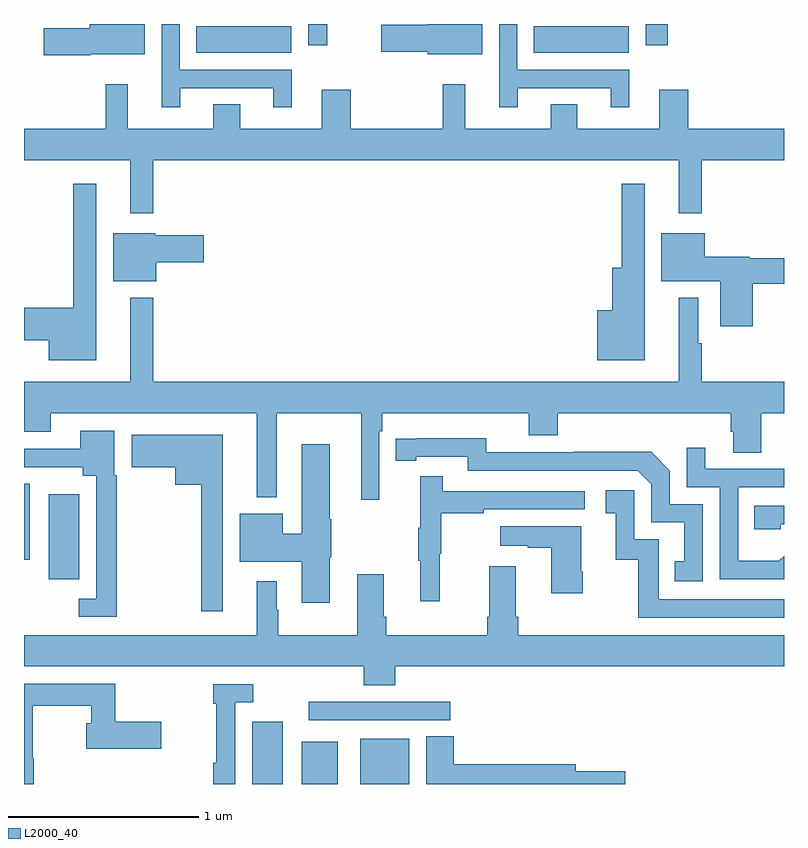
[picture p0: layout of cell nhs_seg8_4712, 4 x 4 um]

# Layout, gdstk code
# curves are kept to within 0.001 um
import gdstk
lib = gdstk.Library(unit=1e-6, precision=1e-09)
def R(c, l, rs):  # rectangles x0, y0, x1, y1
    for r in rs: c.add(gdstk.rectangle(r[:2], r[2:], *l))
def P(c, l, *ps):  # polygons
    for p in ps: c.add(gdstk.Polygon(p, *l))
L2000_40 = (2000, 40)

nhs_seg8_4712 = lib.new_cell('nhs_seg8_4712')
R(nhs_seg8_4712, L2000_40, [(398.201,1095.9,398.362,1096.228), (398.462,1095.9,398.65,1096.123), (398.771,1095.9,399.028,1096.138), (398.499,1096.236,399.244,1096.332), (397.13,1096.977,397.291,1097.425), (397,1097.081,397.03,1097.479), (397.906,1099.748,398.407,1099.888), (399.682,1099.748,400.183,1099.888), (398.496,1099.788,398.597,1099.9), (400.272,1099.788,400.388,1099.9)])
P(nhs_seg8_4712, L2000_40, [(399.411,1099.9),(399.122,1099.9),(399.122,1099.895),(398.88,1099.895),(398.88,1099.753),(399.126,1099.753),(399.126,1099.742),(399.411,1099.742)],
  [(397.35,1099.742),(397.635,1099.742),(397.635,1099.9),(397.346,1099.9),(397.346,1099.877),(397.104,1099.877),(397.104,1099.735),(397.35,1099.735)],
  [(399.598,1099.563),(400.088,1099.563),(400.088,1099.461),(400.186,1099.461),(400.186,1099.659),(399.597,1099.659),(399.597,1099.9),(399.501,1099.9),(399.501,1099.461),(399.598,1099.461)],
  [(397.822,1099.563),(398.312,1099.563),(398.312,1099.461),(398.41,1099.461),(398.41,1099.659),(397.821,1099.659),(397.821,1099.9),(397.725,1099.9),(397.725,1099.461),(397.822,1099.461)],
  [(397.681,1099.184),(400.445,1099.184),(400.445,1098.903),(400.567,1098.903),(400.567,1099.184),(401,1099.184),(401,1099.348),(400.496,1099.348),(400.496,1099.555),(400.343,1099.555),(400.343,1099.348),(399.913,1099.348),(399.913,1099.478),(399.773,1099.478),(399.773,1099.348),(399.323,1099.348),(399.323,1099.582),(399.205,1099.582),(399.205,1099.348),(398.72,1099.348),(398.72,1099.555),(398.567,1099.555),(398.567,1099.348),(398.137,1099.348),(398.137,1099.478),(397.997,1099.478),(397.997,1099.348),(397.547,1099.348),(397.547,1099.582),(397.429,1099.582),(397.429,1099.348),(397,1099.348),(397,1099.184),(397.559,1099.184),(397.559,1098.903),(397.681,1098.903)],
  [(397.381,1099.06),(397.26,1099.06),(397.26,1098.407),(397,1098.407),(397,1098.236),(397.13,1098.236),(397.13,1098.131),(397.381,1098.131)],
  [(400.267,1099.06),(400.146,1099.06),(400.146,1098.616),(400.097,1098.616),(400.097,1098.394),(400.016,1098.394),(400.016,1098.131),(400.267,1098.131)],
  [(397.696,1098.647),(397.945,1098.647),(397.945,1098.789),(397.692,1098.789),(397.692,1098.799),(397.469,1098.799),(397.469,1098.545),(397.696,1098.545)],
  [(400.835,1098.532),(401,1098.532),(401,1098.668),(400.818,1098.668),(400.818,1098.676),(400.582,1098.676),(400.582,1098.799),(400.355,1098.799),(400.355,1098.545),(400.664,1098.545),(400.664,1098.309),(400.835,1098.309)],
  [(398.871,1097.756),(398.885,1097.756),(398.885,1097.852),(399.656,1097.852),(399.656,1097.735),(399.809,1097.735),(399.809,1097.852),(400.721,1097.852),(400.721,1097.754),(400.733,1097.754),(400.733,1097.644),(400.881,1097.644),(400.881,1097.852),(401,1097.852),(401,1098.016),(400.567,1098.016),(400.567,1098.221),(400.549,1098.221),(400.549,1098.46),(400.445,1098.46),(400.445,1098.016),(397.681,1098.016),(397.681,1098.46),(397.559,1098.46),(397.559,1098.016),(397,1098.016),(397,1097.852),(397.001,1097.852),(397.001,1097.753),(397.141,1097.753),(397.141,1097.852),(398.225,1097.852),(398.225,1097.408),(398.329,1097.408),(398.329,1097.852),(398.774,1097.852),(398.774,1097.397),(398.871,1097.397)],
  [(397.489,1097.526),(397.476,1097.526),(397.476,1097.758),(397.295,1097.758),(397.295,1097.664),(397,1097.664),(397,1097.568),(397.31,1097.568),(397.31,1097.522),(397.38,1097.522),(397.38,1096.875),(397.287,1096.875),(397.287,1096.779),(397.489,1096.779)],
  [(398.047,1097.737),(397.566,1097.737),(397.566,1097.567),(397.796,1097.567),(397.796,1097.474),(397.933,1097.474),(397.933,1096.809),(398.047,1096.809)],
  [(400.572,1097.373),(400.398,1097.373),(400.398,1097.55),(400.3,1097.648),(399.892,1097.648),(399.892,1097.646),(399.432,1097.646),(399.432,1097.719),(398.956,1097.718),(398.956,1097.602),(399.064,1097.602),(399.064,1097.622),(399.336,1097.622),(399.336,1097.55),(400.23,1097.55),(400.302,1097.478),(400.302,1097.277),(400.475,1097.277),(400.475,1097.073),(400.426,1097.073),(400.426,1096.968),(400.572,1096.968)],
  [(398.608,1097.093),(398.616,1097.093),(398.616,1097.293),(398.608,1097.293),(398.608,1097.689),(398.462,1097.689),(398.462,1097.216),(398.362,1097.216),(398.362,1097.323),(398.135,1097.323),(398.135,1097.069),(398.462,1097.069),(398.462,1096.854),(398.608,1096.854)],
  [(401,1097.102),(400.972,1097.074),(400.758,1097.074),(400.758,1097.463),(401,1097.463),(401,1097.559),(400.585,1097.559),(400.585,1097.671),(400.488,1097.671),(400.488,1097.463),(400.662,1097.463),(400.662,1096.977),(401,1096.977)],
  [(399.188,1097.112),(399.196,1097.112),(399.196,1097.326),(399.419,1097.326),(399.419,1097.346),(399.952,1097.346),(399.952,1097.442),(399.203,1097.442),(399.203,1097.521),(399.086,1097.521),(399.086,1097.249),(399.075,1097.249),(399.075,1097.075),(399.086,1097.075),(399.086,1096.863),(399.188,1096.863)],
  [(401,1096.872),(400.341,1096.872),(400.341,1097.187),(400.212,1097.187),(400.212,1097.446),(400.062,1097.446),(400.062,1097.325),(400.115,1097.325),(400.115,1097.079),(400.233,1097.079),(400.233,1096.776),(401,1096.776)],
  [(400.983,1097.268),(401,1097.268),(401,1097.364),(400.843,1097.364),(400.843,1097.241),(400.983,1097.241)],
  [(399.942,1097.017),(399.934,1097.017),(399.934,1097.257),(399.507,1097.257),(399.507,1097.153),(399.65,1097.153),(399.65,1097.143),(399.776,1097.143),(399.776,1096.905),(399.942,1096.905)],
  [(398.954,1096.52),(401,1096.52),(401,1096.684),(399.602,1096.684),(399.602,1096.78),(399.589,1096.78),(399.589,1097.047),(399.449,1097.047),(399.449,1096.78),(399.437,1096.78),(399.437,1096.684),(398.906,1096.684),(398.906,1096.78),(398.893,1096.78),(398.893,1097.005),(398.753,1097.005),(398.753,1096.684),(398.339,1096.684),(398.339,1096.817),(398.329,1096.817),(398.329,1096.966),(398.225,1096.966),(398.225,1096.684),(397,1096.684),(397,1096.52),(398.789,1096.52),(398.789,1096.421),(398.954,1096.421)],
  [(397.052,1096.035),(397.045,1096.035),(397.045,1096.312),(397.353,1096.312),(397.353,1096.219),(397.327,1096.219),(397.327,1096.085),(397.723,1096.085),(397.723,1096.227),(397.481,1096.227),(397.481,1096.428),(397,1096.428),(397,1095.9),(397.052,1095.9)],
  [(398.112,1096.329),(398.206,1096.329),(398.206,1096.425),(397.996,1096.425),(397.996,1096.322),(398.011,1096.322),(398.011,1096.013),(397.996,1096.013),(397.996,1095.9),(398.112,1095.9)],
  [(400.165,1095.968),(399.904,1095.968),(399.904,1096.004),(399.263,1096.004),(399.263,1096.151),(399.116,1096.151),(399.116,1095.9),(400.165,1095.9)])

lib.write_gds('nhs_seg8_4712.gds')
